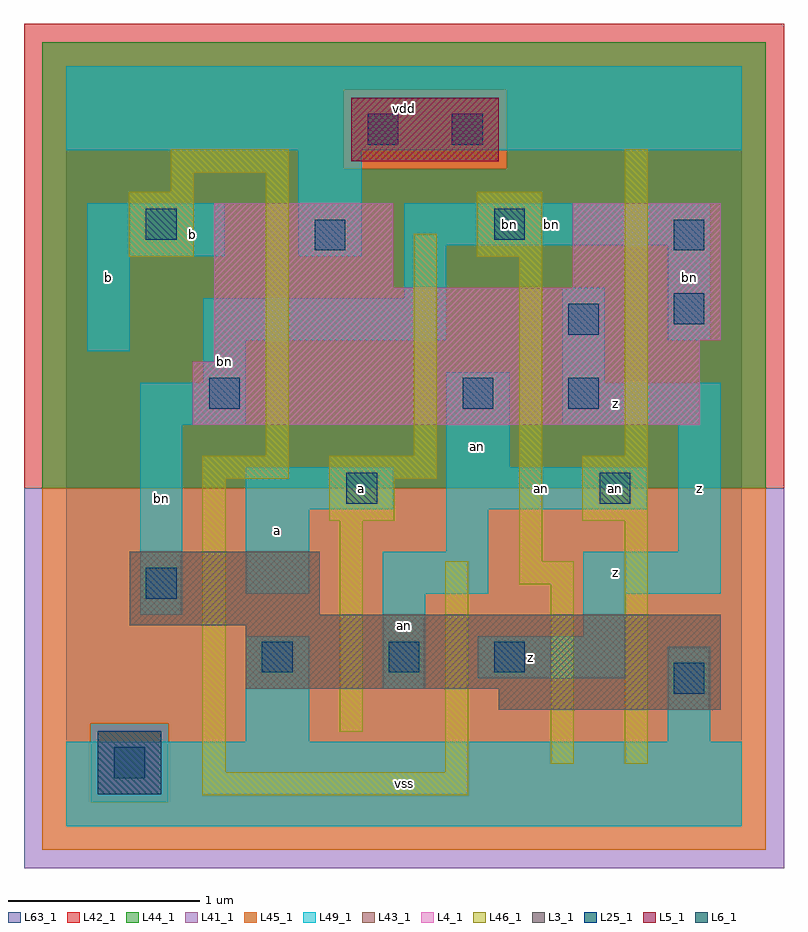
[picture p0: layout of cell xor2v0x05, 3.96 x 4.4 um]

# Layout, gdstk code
import gdstk
lib = gdstk.Library(unit=1e-6, precision=1e-09)
def R(c, l, rs):  # rectangles x0, y0, x1, y1
    for r in rs: c.add(gdstk.rectangle(r[:2], r[2:], *l))
L3_1 = (3, 1)
L4_1 = (4, 1)
L5_1 = (5, 1)
L6_1 = (6, 1)
L25_1 = (25, 1)
L41_1 = (41, 1)
L42_1 = (42, 1)
L43_1 = (43, 1)
L44_1 = (44, 1)
L45_1 = (45, 1)
L46_1 = (46, 1)
L49_1 = (49, 1)
L63_1 = (63, 1)

xor2v0x05 = lib.new_cell('xor2v0x05')
R(xor2v0x05, L3_1, [(2.255,0.605,3.41,0.715), (0.935,0.715,3.41,1.045), (0.33,1.045,3.41,1.1), (0.33,1.1,1.32,1.43)])
R(xor2v0x05, L4_1, [(0.66,2.09,3.3,2.42), (0.77,2.42,3.3,2.53), (0.77,2.53,3.41,2.805), (0.77,2.805,1.705,3.245), (2.64,2.805,3.41,3.245)])
R(xor2v0x05, L5_1, [(1.485,3.465,2.255,3.795)])
R(xor2v0x05, L6_1, [(0.165,0.165,0.495,0.495)])
R(xor2v0x05, L25_1, [(0.25,0.25,0.41,0.41), (3.165,0.69,3.325,0.85), (1.02,0.8,1.18,0.96), (1.68,0.8,1.84,0.96), (2.23,0.8,2.39,0.96), (0.415,1.185,0.575,1.345), (1.46,1.68,1.62,1.84), (2.78,1.68,2.94,1.84), (0.745,2.175,0.905,2.335), (2.065,2.175,2.225,2.335), (2.615,2.175,2.775,2.335), (2.615,2.56,2.775,2.72), (3.165,2.615,3.325,2.775), (1.295,3,1.455,3.16), (3.165,3,3.325,3.16), (0.415,3.055,0.575,3.215), (2.23,3.055,2.39,3.215), (1.57,3.55,1.73,3.71), (2.01,3.55,2.17,3.71)])
R(xor2v0x05, L41_1, [(-0.22,-0.22,3.74,1.76)])
R(xor2v0x05, L42_1, [(-0.22,1.76,3.74,4.18)])
R(xor2v0x05, L43_1, [(0.165,0.165,0.495,0.495), (2.255,0.605,3.41,0.715), (0.935,0.715,3.41,1.045), (0.33,1.045,3.41,1.1), (0.33,1.1,1.32,1.43), (0.66,2.09,3.3,2.42), (0.77,2.42,3.3,2.53), (0.77,2.53,3.41,2.805), (0.77,2.805,1.705,3.245), (2.64,2.805,3.41,3.245), (1.485,3.465,2.255,3.795)])
R(xor2v0x05, L44_1, [(0.125,0.125,0.535,0.535), (-0.125,1.76,3.645,3.425), (-0.125,3.425,1.445,3.835), (2.295,3.425,3.645,3.835), (-0.125,3.835,3.645,4.085)])
R(xor2v0x05, L45_1, [(-0.125,-0.125,3.645,0.125), (-0.125,0.125,0.125,0.535), (0.535,0.125,3.645,0.535), (-0.125,0.535,3.645,1.76), (1.445,3.425,2.295,3.835)])
R(xor2v0x05, L46_1, [(0.71,0.16,2.095,0.28), (0.71,0.28,0.83,1.81), (1.975,0.28,2.095,1.38), (2.525,0.325,2.645,1.26), (2.91,0.325,3.03,1.59), (1.425,0.49,1.545,1.59), (2.36,1.26,2.645,1.38), (2.36,1.38,2.48,2.965), (1.37,1.59,1.71,1.81), (2.69,1.59,3.03,1.93), (0.71,1.81,1.16,1.93), (1.37,1.81,1.93,1.93), (1.04,1.93,1.16,3.405), (1.81,1.93,1.93,3.085), (2.91,1.93,3.03,3.525), (0.325,2.965,0.665,3.305), (2.14,2.965,2.48,3.305), (0.545,3.305,0.665,3.405), (0.545,3.405,1.16,3.525)])
R(xor2v0x05, L49_1, [(0,0,3.52,0.44), (0.935,0.44,1.265,0.99), (3.135,0.44,3.355,0.935), (1.65,0.715,1.87,1.21), (2.145,0.77,2.915,0.99), (2.695,0.99,2.915,1.21), (0.385,1.1,0.605,2.09), (0.935,1.21,1.265,1.65), (1.65,1.21,2.2,1.43), (2.695,1.21,3.41,1.43), (1.98,1.43,2.2,1.65), (3.19,1.43,3.41,2.09), (0.935,1.65,1.705,1.87), (1.98,1.65,3.025,1.87), (1.98,1.87,2.31,2.365), (0.385,2.09,0.935,2.31), (2.585,2.09,3.41,2.31), (0.715,2.31,0.935,2.53), (2.585,2.31,2.805,2.805), (0.11,2.475,0.33,2.97), (0.715,2.53,1.98,2.75), (3.135,2.53,3.355,3.025), (1.76,2.75,1.98,3.025), (0.11,2.97,0.825,3.245), (1.21,2.97,1.54,3.52), (1.76,3.025,3.355,3.245), (0,3.52,3.52,3.96)])
R(xor2v0x05, L63_1, [(0,0,3.52,3.96)])
xor2v0x05.add(gdstk.Label('an', (2.86,1.76), layer=49, texttype=1))
xor2v0x05.add(gdstk.Label('bn', (2.31,3.135), layer=49, texttype=1))
xor2v0x05.add(gdstk.Label('bn', (0.495,1.705), layer=49, texttype=1))
xor2v0x05.add(gdstk.Label('b', (0.22,2.86), layer=49, texttype=1))
xor2v0x05.add(gdstk.Label('b', (0.66,3.08), layer=49, texttype=1))
xor2v0x05.add(gdstk.Label('a', (1.1,1.54), layer=49, texttype=1))
xor2v0x05.add(gdstk.Label('a', (1.54,1.76), layer=49, texttype=1))
xor2v0x05.add(gdstk.Label('bn', (0.825,2.42), layer=49, texttype=1))
xor2v0x05.add(gdstk.Label('vss', (1.76,0.22), layer=49, texttype=1))
xor2v0x05.add(gdstk.Label('z', (2.42,0.88), layer=49, texttype=1))
xor2v0x05.add(gdstk.Label('an', (1.76,1.045), layer=49, texttype=1))
xor2v0x05.add(gdstk.Label('an', (2.145,1.98), layer=49, texttype=1))
xor2v0x05.add(gdstk.Label('vdd', (1.76,3.74), layer=49, texttype=1))
xor2v0x05.add(gdstk.Label('z', (2.86,1.32), layer=49, texttype=1))
xor2v0x05.add(gdstk.Label('an', (2.475,1.76), layer=49, texttype=1))
xor2v0x05.add(gdstk.Label('z', (3.3,1.76), layer=49, texttype=1))
xor2v0x05.add(gdstk.Label('z', (2.86,2.2), layer=49, texttype=1))
xor2v0x05.add(gdstk.Label('bn', (3.245,2.86), layer=49, texttype=1))
xor2v0x05.add(gdstk.Label('bn', (2.53,3.135), layer=49, texttype=1))

lib.write_gds('xor2v0x05.gds')
